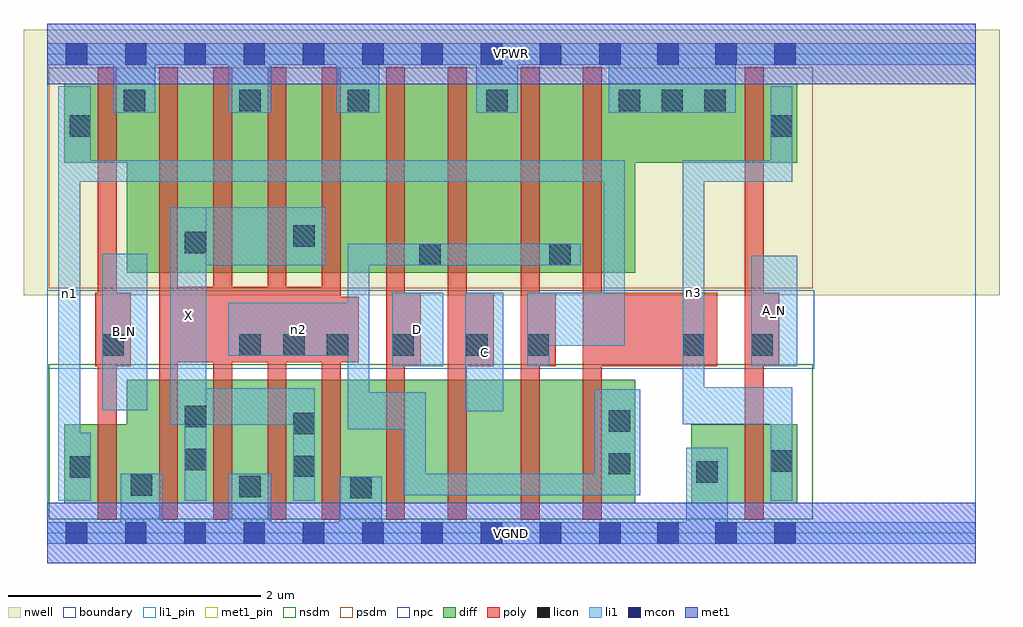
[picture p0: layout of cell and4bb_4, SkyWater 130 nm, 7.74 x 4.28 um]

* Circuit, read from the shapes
.subckt and4bb_4 A_N B_N C D VGND VPWR X n1 n2 n3
XM1 VGND B_N n1 VSUBS sky130_fd_pr__nfet_01v8 w=0.63 l=0.15
XM2 X n2 VGND VSUBS sky130_fd_pr__nfet_01v8 w=0.98 l=0.15 m=4
XM3 n4 D VGND VSUBS sky130_fd_pr__nfet_01v8 w=0.98 l=0.15
XM4 n5 C n4 VSUBS sky130_fd_pr__nfet_01v8 w=0.98 l=0.15
XM5 n6 n1 n5 VSUBS sky130_fd_pr__nfet_01v8 w=0.98 l=0.15
XM6 n2 n3 n6 VSUBS sky130_fd_pr__nfet_01v8 w=0.98 l=0.15
XM7 n3 A_N VGND VSUBS sky130_fd_pr__nfet_01v8 w=0.63 l=0.15
XM8 VPWR B_N n1 n7 sky130_fd_pr__pfet_01v8 w=0.63 l=0.15
XM9 X n2 VPWR n7 sky130_fd_pr__pfet_01v8 w=1.5 l=0.15 m=4
XM10 n2 D VPWR n7 sky130_fd_pr__pfet_01v8 w=1.5 l=0.15
XM11 VPWR C n2 n7 sky130_fd_pr__pfet_01v8 w=1.5 l=0.15
XM12 n2 n1 VPWR n7 sky130_fd_pr__pfet_01v8 w=1.5 l=0.15
XM13 VPWR n3 n2 n7 sky130_fd_pr__pfet_01v8 w=1.5 l=0.15
XM14 n3 A_N VPWR n7 sky130_fd_pr__pfet_01v8 w=0.63 l=0.15
.ends

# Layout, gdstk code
import gdstk
lib = gdstk.Library(unit=1e-6, precision=1e-09)
def R(c, l, rs):  # rectangles x0, y0, x1, y1
    for r in rs: c.add(gdstk.rectangle(r[:2], r[2:], *l))
def A(c, l, x, y, w, h, nx, ny, dx, dy):  # array of equal rectangles
    R(c, l, [(x+i*dx, y+j*dy, x+i*dx+w, y+j*dy+h) for i in range(nx) for j in range(ny)])
nwell = (64, 20)
diff = (65, 20)
poly = (66, 20)
licon = (66, 44)
li1_pin = (67, 16)
li1 = (67, 20)
mcon = (67, 44)
met1_pin = (68, 16)
met1 = (68, 20)
nsdm = (93, 44)
psdm = (94, 20)
npc = (95, 20)
boundary = (235, 4)

and4bb_4 = lib.new_cell('and4bb_4')
R(and4bb_4, nwell, [(-0.19,1.885,7.55,3.99), (0,1.885,7.36,3.99)])
R(and4bb_4, diff, [(0.135,0.235,4.66,0.865), (0.63,0.235,4.66,1.215), (5.105,0.235,5.945,0.865), (0.63,2.065,4.66,3.565), (0.135,2.935,5.945,3.565)])
A(and4bb_4, poly, 0.885, 0.105, 0.15, 3.59, 4, 1, 0.43, 0)
R(and4bb_4, poly, [(0.4,0.105,0.55,3.695), (2.685,0.105,2.835,3.695), (3.175,0.105,3.325,3.695), (3.755,0.105,3.905,3.695), (4.245,0.105,4.395,3.695), (5.53,0.105,5.68,3.695), (0.38,1.325,0.66,1.905), (2.685,1.325,2.96,1.905), (3.175,1.325,3.54,1.905), (3.755,1.325,4.03,1.905), (4.245,1.325,5.31,1.905), (5.53,1.325,5.805,1.905), (0.885,1.355,2.325,1.955), (0.885,1.355,2.47,1.875)])
A(and4bb_4, licon, 4.53, 3.345, 0.17, 0.17, 3, 1, 0.34, 0)
R(and4bb_4, licon, [(2.4,0.275,2.57,0.445), (1.52,0.285,1.69,0.455), (0.66,0.295,0.83,0.465), (5.145,0.4,5.315,0.57), (0.175,0.44,0.345,0.61), (1.95,0.445,2.12,0.615), (4.45,0.465,4.62,0.635), (5.735,0.485,5.905,0.655), (1.09,0.5,1.26,0.67), (1.95,0.785,2.12,0.955), (4.45,0.805,4.62,0.975), (1.09,0.84,1.26,1.01), (0.435,1.405,0.605,1.575), (1.52,1.405,1.69,1.575), (1.87,1.405,2.04,1.575), (2.215,1.405,2.385,1.575), (2.735,1.405,2.905,1.575), (3.32,1.405,3.49,1.575), (3.805,1.405,3.975,1.575), (5.04,1.405,5.21,1.575), (5.58,1.405,5.75,1.575), (2.95,2.125,3.12,2.295), (3.98,2.125,4.15,2.295), (1.09,2.22,1.26,2.39), (1.95,2.27,2.12,2.44), (0.175,3.145,0.345,3.315), (5.735,3.145,5.905,3.315), (0.605,3.345,0.775,3.515), (1.52,3.345,1.69,3.515), (2.38,3.345,2.55,3.515), (3.48,3.345,3.65,3.515)])
R(and4bb_4, li1_pin, [(0.975,0.86,1.26,2.585), (3.315,0.965,3.615,1.905), (0.435,0.975,0.79,2.215), (2.735,1.325,3.14,1.905), (5.58,1.325,5.945,2.2)])
R(and4bb_4, li1, [(0,-0.085,7.36,0.085), (0.58,-0.085,0.915,0.47), (1.435,-0.085,1.775,0.47), (2.315,-0.085,2.65,0.445), (5.065,-0.085,5.395,0.675), (0.085,0.255,0.26,3.545), (0.085,0.255,0.345,0.795), (1.09,0.255,1.26,2.585), (1.95,0.255,2.12,1.15), (5.735,0.255,5.905,1.155), (2.825,0.3,4.7,0.47), (2.825,0.3,3,1.115), (4.34,0.3,4.7,1.14), (2.38,0.825,2.55,2.295), (2.38,0.825,3,1.115), (0.975,0.86,1.26,2.585), (0.975,0.86,2.12,1.15), (5.04,0.865,5.21,2.955), (5.04,0.865,5.905,1.155), (3.315,0.965,3.615,1.905), (0.435,0.975,0.79,2.215), (2.735,1.325,3.14,1.905), (3.805,1.325,3.98,1.905), (5.58,1.325,5.945,2.2), (1.435,1.405,2.55,1.825), (3.805,1.485,4.58,1.905), (4.41,1.485,4.58,2.955), (0.975,2.125,2.205,2.585), (2.38,2.125,4.23,2.295), (0.085,2.785,4.58,2.955), (0.085,2.785,0.345,3.545), (5.04,2.785,5.905,2.955), (5.735,2.785,5.905,3.545), (0.52,3.335,0.855,3.885), (1.435,3.335,1.775,3.885), (2.295,3.335,2.63,3.885), (3.4,3.335,3.73,3.885), (4.45,3.335,5.46,3.885), (0,3.715,7.36,3.885)])
A(and4bb_4, mcon, 0.145, -0.085, 0.17, 0.17, 10, 2, 0.47, 3.8)
R(and4bb_4, mcon, [(4.835,-0.085,5.005,0.085), (5.295,-0.085,5.465,0.085), (5.765,-0.085,5.935,0.085), (4.835,3.715,5.005,3.885), (5.295,3.715,5.465,3.885), (5.765,3.715,5.935,3.885)])
R(and4bb_4, met1_pin, [(0,-0.24,7.36,0.24), (0,3.56,7.36,4.04)])
R(and4bb_4, met1, [(0,-0.24,7.36,0.24), (0,3.56,7.36,4.04)])
R(and4bb_4, nsdm, [(0.01,0.11,6.07,1.34)])
R(and4bb_4, psdm, [(0.01,1.94,6.07,3.69)])
R(and4bb_4, npc, [(0,1.305,6.08,1.925)])
R(and4bb_4, boundary, [(0,0,7.36,3.8)])
and4bb_4.add(gdstk.Label('A_N', (5.762,1.762), layer=67, texttype=5))
and4bb_4.add(gdstk.Label('B_N', (0.612,1.595), layer=67, texttype=5))
and4bb_4.add(gdstk.Label('C', (3.465,1.435), layer=67, texttype=5))
and4bb_4.add(gdstk.Label('D', (2.937,1.615), layer=67, texttype=5))
and4bb_4.add(gdstk.Label('X', (1.117,1.722), layer=67, texttype=5))
and4bb_4.add(gdstk.Label('n2', (1.992,1.615), layer=67, texttype=5))
and4bb_4.add(gdstk.Label('n1', (0.172,1.9), layer=67, texttype=5))
and4bb_4.add(gdstk.Label('n3', (5.125,1.91), layer=67, texttype=5))
and4bb_4.add(gdstk.Label('VPWR', (3.68,3.8), layer=68, texttype=5))
and4bb_4.add(gdstk.Label('VGND', (3.68,0), layer=68, texttype=5))
and4bb_4.add(gdstk.Label('A_N', (5.762,1.762), layer=67, texttype=16))
and4bb_4.add(gdstk.Label('B_N', (0.612,1.595), layer=67, texttype=16))
and4bb_4.add(gdstk.Label('C', (3.465,1.435), layer=67, texttype=16))
and4bb_4.add(gdstk.Label('D', (2.937,1.615), layer=67, texttype=16))
and4bb_4.add(gdstk.Label('X', (1.117,1.722), layer=67, texttype=16))
and4bb_4.add(gdstk.Label('VPWR', (3.68,3.8), layer=68, texttype=16))
and4bb_4.add(gdstk.Label('VGND', (3.68,0), layer=68, texttype=16))

lib.write_gds('and4bb_4.gds')
